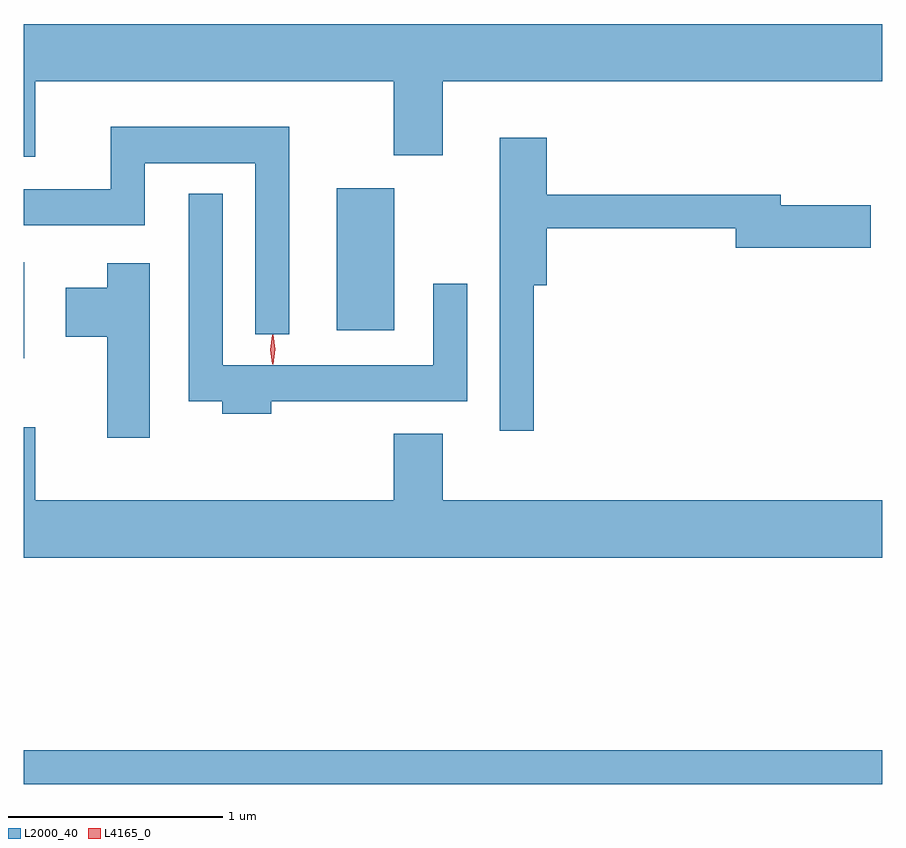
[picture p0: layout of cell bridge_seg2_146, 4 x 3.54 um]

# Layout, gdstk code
import gdstk
lib = gdstk.Library(unit=1e-6, precision=1e-09)
def R(c, l, rs):  # rectangles x0, y0, x1, y1
    for r in rs: c.add(gdstk.rectangle(r[:2], r[2:], *l))
def P(c, l, *ps):  # polygons
    for p in ps: c.add(gdstk.Polygon(p, *l))
L2000_40 = (2000, 40)
L4165_0 = (4165, 0)

bridge_seg2_146 = lib.new_cell('bridge_seg2_146')
R(bridge_seg2_146, L2000_40, [(1079.227,1102.761,1083.227,1102.919), (1079.227,1104.746,1079.229,1105.194), (1080.686,1104.876,1080.954,1105.539)])
P(bridge_seg2_146, L2000_40, [(1079.279,1106.036),(1080.951,1106.036),(1080.951,1105.691),(1081.179,1105.691),(1081.179,1106.036),(1083.227,1106.036),(1083.227,1106.304),(1079.227,1106.304),(1079.227,1105.686),(1079.279,1105.686)],
  [(1080.464,1105.824),(1079.631,1105.824),(1079.631,1105.534),(1079.227,1105.534),(1079.227,1105.366),(1079.789,1105.366),(1079.789,1105.656),(1080.306,1105.656),(1080.306,1104.858),(1080.464,1104.858)],
  [(1081.604,1105.086),(1081.664,1105.086),(1081.664,1105.351),(1082.546,1105.351),(1082.546,1105.261),(1083.174,1105.261),(1083.174,1105.459),(1082.754,1105.459),(1082.754,1105.509),(1081.664,1105.509),(1081.664,1105.774),(1081.446,1105.774),(1081.446,1104.408),(1081.604,1104.408)],
  [(1080.379,1104.546),(1081.294,1104.546),(1081.294,1105.093),(1081.136,1105.093),(1081.136,1104.714),(1080.154,1104.714),(1080.154,1105.513),(1079.996,1105.513),(1079.996,1104.546),(1080.151,1104.546),(1080.151,1104.486),(1080.379,1104.486)],
  [(1079.814,1105.189),(1079.616,1105.189),(1079.616,1105.074),(1079.421,1105.074),(1079.421,1104.846),(1079.616,1104.846),(1079.616,1104.376),(1079.814,1104.376)],
  [(1083.227,1104.084),(1081.179,1104.084),(1081.179,1104.394),(1080.951,1104.394),(1080.951,1104.084),(1079.279,1104.084),(1079.279,1104.424),(1079.227,1104.424),(1079.227,1103.816),(1083.227,1103.816)])
P(bridge_seg2_146, L4165_0, [(1080.385,1104.719),(1080.385,1104.72),(1080.375,1104.786),(1080.384,1104.852),(1080.385,1104.853),(1080.386,1104.852),(1080.395,1104.786),(1080.386,1104.72)],
  [(1080.387,1104.717),(1080.378,1104.787),(1080.387,1104.856),(1080.388,1104.856),(1080.388,1104.856),(1080.398,1104.787),(1080.388,1104.717),(1080.388,1104.717)])

lib.write_gds('bridge_seg2_146.gds')
